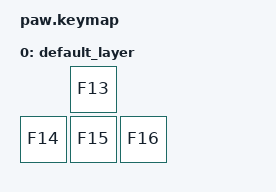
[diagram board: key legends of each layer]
#include <behaviors.dtsi>
#include <dt-bindings/zmk/keys.h>
#include <dt-bindings/zmk/bt.h>

/ {
  keymap {
    compatible = "zmk,keymap";

    default_layer {
// -----------------------------------------------------------------------------------------
// TODO: Add diagram for keymap
      bindings = <
                 &kp F13
        &kp F14 &kp F15 &kp F16
      >;
    };
  };
};
